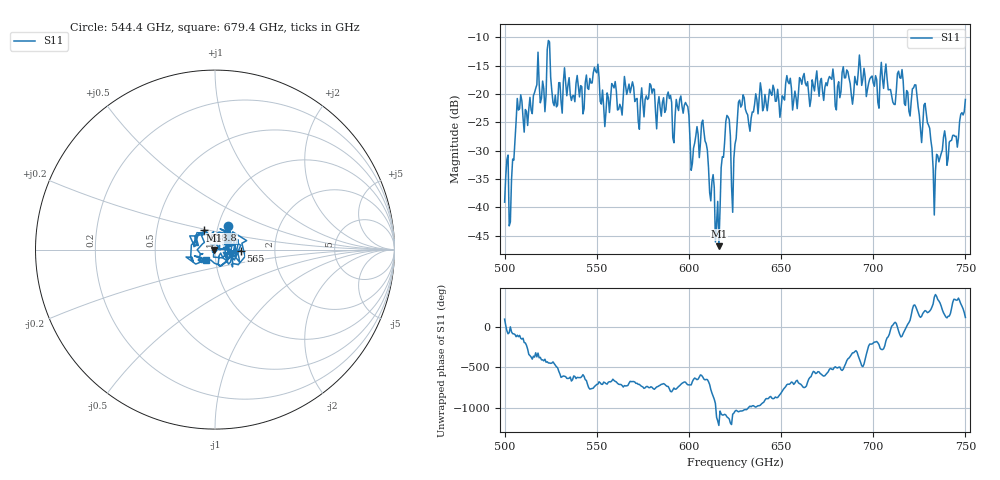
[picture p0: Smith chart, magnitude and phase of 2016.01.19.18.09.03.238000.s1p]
!Created with skrf (http://scikit-rf.org).
# GHz S RI R 50.0
!freq ReS11 ImS11
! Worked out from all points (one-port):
!   401 points, 500 GHz to 750 GHz, reference 50 ohm
!   lowest |S11| = -46.8 dB at 616.2 GHz (marker M1), VSWR 1.01, Z = 49.7 - j0.346 ohm
!   |S11| at or under -10 dB: start of sweep to end of sweep
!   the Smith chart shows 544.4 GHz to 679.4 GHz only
!   S11 on the Smith chart (normalised r, x): 544.4 GHz: 1.11, +0.29; 565 GHz: 1.33, -0.01; 638.8 GHz: 0.87, +0.19; 679.4 GHz: 0.90, -0.11
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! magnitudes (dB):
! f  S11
! 500 GHz  -39.1
! 503.8 GHz  -35.1
! 508.1 GHz  -22.6
! 521.2 GHz  -19.0
! 524.4 GHz  -10.8
! 527.5 GHz  -20.2
! 531.2 GHz  -23.4
! 544.4 GHz  -16.6
! 549.4 GHz  -16.0
! 562.5 GHz  -21.8
! 565 GHz  -16.9
! 593.8 GHz  -22.2
! 598.8 GHz  -21.9
! 601.9 GHz  -32.2
! 608.1 GHz  -26.6
! 616.2 GHz  -46.8
! 620.6 GHz  -23.8
! 625 GHz  -28.9
! 628.1 GHz  -22.3
! 638.8 GHz  -18.0
! 656.2 GHz  -22.8
! 679.4 GHz  -22.2
! 687.5 GHz  -18.1
! 714.4 GHz  -17.1
! 718.8 GHz  -19.7
! 728.8 GHz  -23.3
! 733.8 GHz  -33.6
! 750 GHz  -21.0
